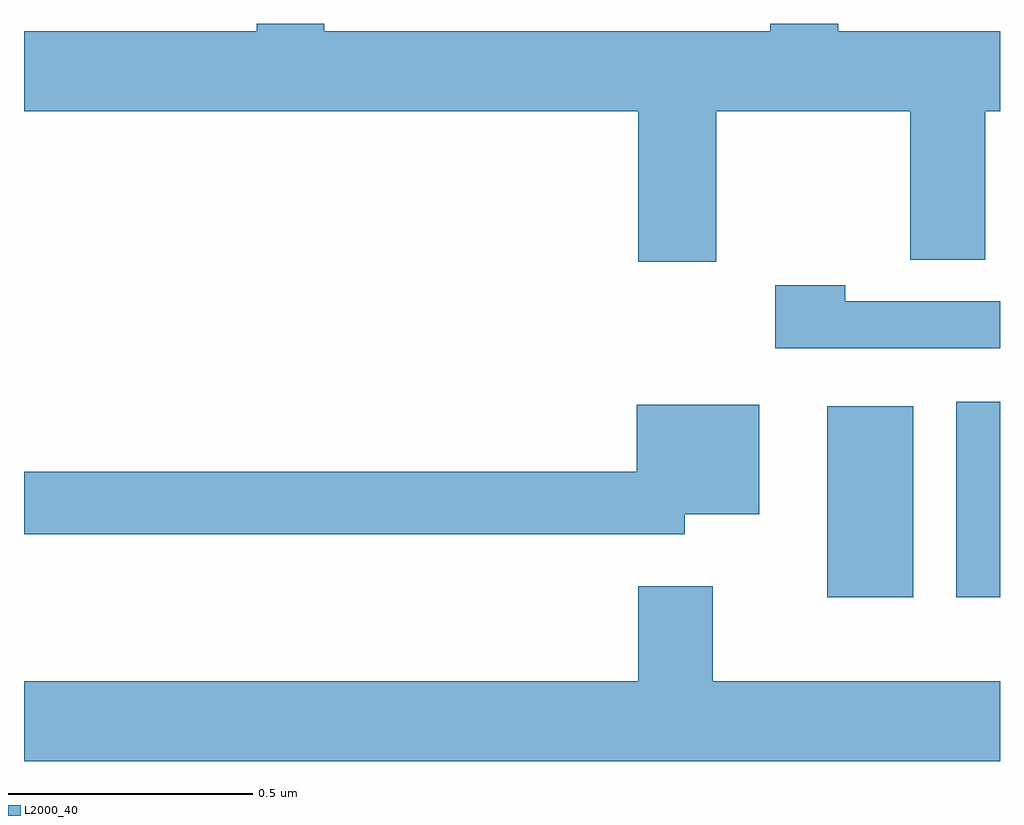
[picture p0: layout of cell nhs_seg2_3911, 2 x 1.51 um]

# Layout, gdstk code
import gdstk
lib = gdstk.Library(unit=1e-6, precision=1e-09)
def R(c, l, rs):  # rectangles x0, y0, x1, y1
    for r in rs: c.add(gdstk.rectangle(r[:2], r[2:], *l))
def P(c, l, *ps):  # polygons
    for p in ps: c.add(gdstk.Polygon(p, *l))
L2000_40 = (2000, 40)

nhs_seg2_3911 = lib.new_cell('nhs_seg2_3911')
R(nhs_seg2_3911, L2000_40, [(160.646,662.624,160.822,663.016), (160.91,662.624,161,663.025)])
P(nhs_seg2_3911, L2000_40, [(160.419,663.62),(160.816,663.62),(160.816,663.316),(160.97,663.316),(160.97,663.62),(161,663.62),(161,663.784),(160.669,663.784),(160.669,663.8),(160.529,663.8),(160.529,663.784),(159.615,663.784),(159.615,663.8),(159.477,663.8),(159.477,663.784),(159,663.784),(159,663.62),(160.259,663.62),(160.259,663.312),(160.419,663.312)],
  [(161,663.231),(160.683,663.231),(160.683,663.264),(160.539,663.264),(160.539,663.135),(161,663.135)],
  [(160.354,662.795),(160.507,662.795),(160.507,663.019),(160.256,663.019),(160.256,662.882),(159,662.882),(159,662.754),(160.354,662.754)],
  [(161,662.452),(160.411,662.452),(160.411,662.647),(160.259,662.647),(160.259,662.452),(159,662.452),(159,662.288),(161,662.288)])

lib.write_gds('nhs_seg2_3911.gds')
